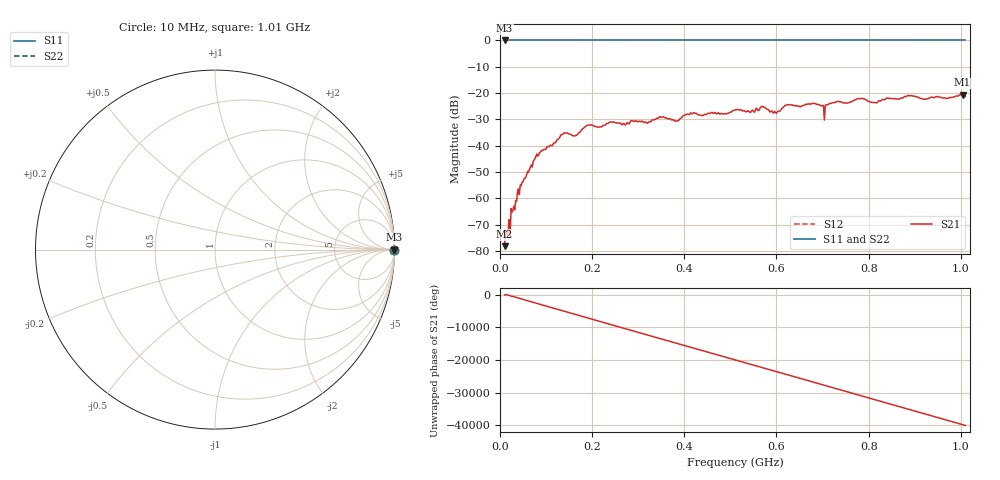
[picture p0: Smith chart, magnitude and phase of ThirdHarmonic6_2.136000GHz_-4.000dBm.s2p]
! 8/17/2025 1:31:02 AM
! C:\ANRITSUVNA\TEMP\TEMP.S2P
! CHANNEL.1
! TR.MEASUREMENT
! RAW.DATA
! RF.CORRECTION.OFF
! AVERAGING.OFF
! IF.BANDWIDTH: 5KHZ
! SWEEPTYPE:  FREQ.SWEEP(Linear)
! Reference Plane Port Info
! PORT:  PORT1  PORT2
! DISTANCE:  0  m  0  m
! TIME:  0  s  0  s
! PHASE.OFFSET:  0  deg.  0  deg.
! LOSS:  0  dB  0  dB
! REF.LOSS:  0  dB  0  dB
! REF.FREQ:  0  Hz  0  Hz
! Power Info
! POWER:  -20  dBm  -20  dBm
! EFF.POWER:  -20  dBm  -20  dBm
! SOURCE.ATTEN:  0  dB  0  dB
! TEST.ATTEN:  0  dB  0  dB
# GHZ S RI R 50.0
! FREQ.GHZ  S11RE  S11IM  S21RE  S21IM  S12RE  S12IM  S22RE  S22IM
!; PortSelection: Port_12
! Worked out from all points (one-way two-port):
!   501 points, 10 MHz to 1.01 GHz, reference 50 ohm
!   highest |S21| = -20.60 dB at 1.004 GHz (marker M1); lowest = -78.2 dB at 10 MHz (marker M2)
!   lowest |S11| = 0.0 dB at 10 MHz (marker M3)
!   |S11| at or under -10 dB: nowhere
!   |S22| runs from 0.0 to 0.0 dB; largest |S21 - S12| = 1.1
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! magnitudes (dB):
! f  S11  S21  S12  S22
! 10 MHz  0.0  -78.2  0.0  0.0
! 42 MHz  0.0  -58.6  0.0  0.0
! 76 MHz  0.0  -45.0  0.0  0.0
! 136 MHz  0.0  -35.7  0.0  0.0
! 164 MHz  0.0  -36.2  0.0  0.0
! 178 MHz  0.0  -33.8  0.0  0.0
! 192 MHz  0.0  -32.1  0.0  0.0
! 322 MHz  0.0  -31.1  0.0  0.0
! 344 MHz  0.0  -29.5  0.0  0.0
! 384 MHz  0.0  -30.6  0.0  0.0
! 418 MHz  0.0  -27.8  0.0  0.0
! 510 MHz  0.0  -26.4  0.0  0.0
! 570 MHz  0.0  -25.0  0.0  0.0
! 596 MHz  0.0  -26.9  0.0  0.0
! 622 MHz  0.0  -24.6  0.0  0.0
! 678 MHz  0.0  -24.0  0.0  0.0
! 702 MHz  0.0  -24.8  0.0  0.0
! 732 MHz  0.0  -23.2  0.0  0.0
! 814 MHz  0.0  -23.6  0.0  0.0
! 844 MHz  0.0  -22.0  0.0  0.0
! 1.004 GHz  0.0  -20.6  0.0  0.0
! 1.01 GHz  0.0  -21.2  0.0  0.0
